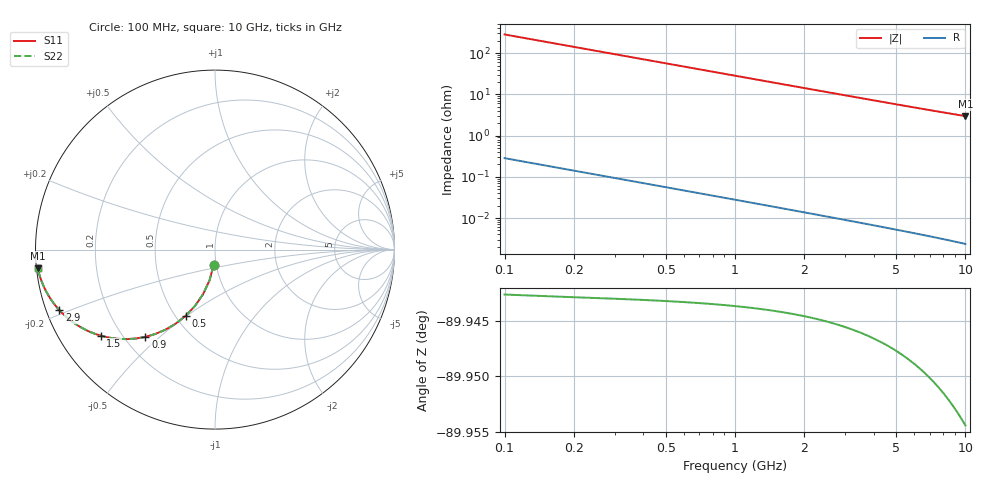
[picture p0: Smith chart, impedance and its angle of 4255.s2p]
# Hz S RI R 50.00
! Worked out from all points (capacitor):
!   100 points, 100 MHz to 10 GHz, reference 50 ohm
!   read as one part in shunt: C = 5.63 pF near 100 MHz
!   lowest |Z| = 2.96 ohm at 10 GHz (marker M1)
!   S11 on the Smith chart (normalised r, x): 100 MHz: 0.97, -0.17; 500 MHz: 0.56, -0.50; 900 MHz: 0.28, -0.45; 1.5 GHz: 0.13, -0.33; 2.9 GHz: 0.04, -0.19; 10 GHz: 0.00, -0.05
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1e8  -0.00781 -0.0876  0.9921 -0.0877  0.9921 -0.0877  -0.00781 -0.0876
2e8  -0.0304 -0.1712  0.9695 -0.1715  0.9695 -0.1715  -0.0304 -0.1712
3e8  -0.0659 -0.2474  0.9341 -0.2478  0.9341 -0.2478  -0.0659 -0.2474
4e8  -0.1113 -0.3138  0.8887 -0.3143  0.8887 -0.3143  -0.1113 -0.3138
5e8  -0.1636 -0.3691  0.8364 -0.3697  0.8364 -0.3697  -0.1636 -0.3691
6e8  -0.2196 -0.4132  0.7803 -0.4139  0.7803 -0.4139  -0.2196 -0.4132
7e8  -0.2769 -0.4466  0.7231 -0.4474  0.7231 -0.4474  -0.2769 -0.4466
9e8  -0.3875 -0.4861  0.6125 -0.4872  0.6125 -0.4872  -0.3875 -0.4861
1e9  -0.4384 -0.4951  0.5615 -0.4963  0.5615 -0.4963  -0.4384 -0.4951
1.2e9  -0.5291 -0.4979  0.4709 -0.4994  0.4709 -0.4994  -0.5291 -0.4979
1.5e9  -0.6369 -0.4795  0.3631 -0.4813  0.3631 -0.4813  -0.6369 -0.4795
1.8e9  -0.7162 -0.4492  0.2837 -0.4514  0.2837 -0.4514  -0.7162 -0.4492
2e9  -0.757 -0.4272  0.243 -0.4296  0.243 -0.4296  -0.757 -0.4272
2.3e9  -0.8046 -0.3946  0.1954 -0.3974  0.1954 -0.3974  -0.8046 -0.3946
2.6e9  -0.8402 -0.3643  0.1598 -0.3675  0.1598 -0.3675  -0.8402 -0.3643
2.9e9  -0.8673 -0.3369  0.1326 -0.3404  0.1326 -0.3404  -0.8673 -0.3369
3.4e9  -0.8998 -0.2977  0.1002 -0.3018  0.1002 -0.3018  -0.8998 -0.2977
4.2e9  -0.9319 -0.2488  0.068 -0.2539  0.068 -0.2539  -0.9319 -0.2488
5.1e9  -0.9528 -0.2084  0.0472 -0.2146  0.0472 -0.2146  -0.9528 -0.2084
6.7e9  -0.9721 -0.16  0.0278 -0.1682  0.0278 -0.1682  -0.9721 -0.16
8.4e9  -0.9821 -0.1266  0.0178 -0.137  0.0178 -0.137  -0.9821 -0.1266
1e10  -0.9874 -0.1047  0.0125 -0.1171  0.0125 -0.1171  -0.9874 -0.1047
